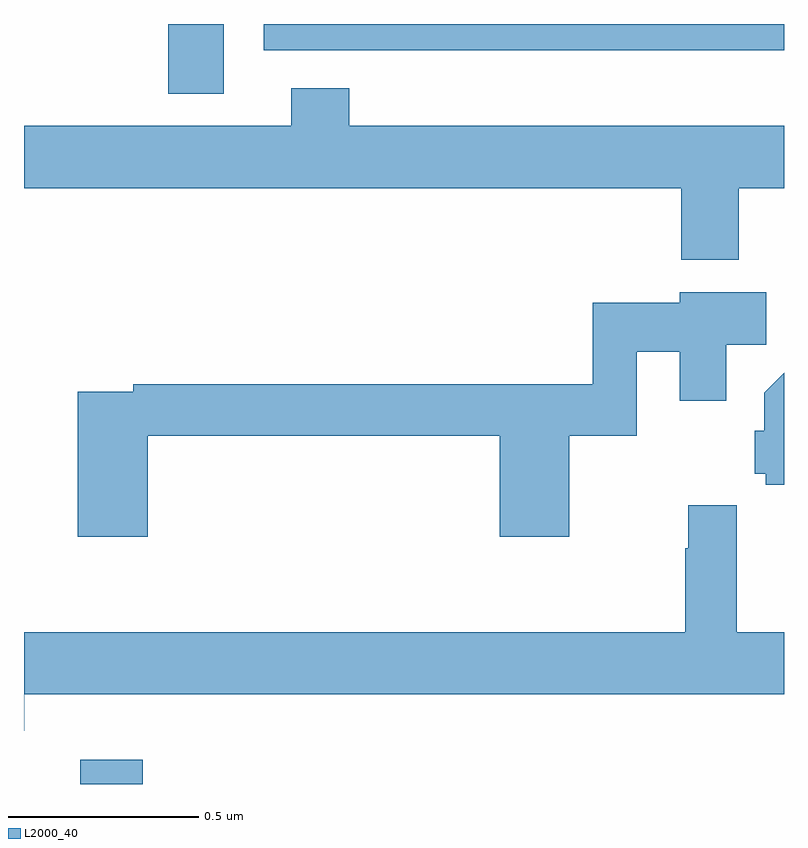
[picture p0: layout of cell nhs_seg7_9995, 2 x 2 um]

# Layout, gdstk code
import gdstk
lib = gdstk.Library(unit=1e-6, precision=1e-09)
def R(c, l, rs):  # rectangles x0, y0, x1, y1
    for r in rs: c.add(gdstk.rectangle(r[:2], r[2:], *l))
def P(c, l, *ps):  # polygons
    for p in ps: c.add(gdstk.Polygon(p, *l))
L2000_40 = (2000, 40)

nhs_seg7_9995 = lib.new_cell('nhs_seg7_9995')
R(nhs_seg7_9995, L2000_40, [(244.148,1047,244.312,1047.064), (244.379,1048.817,244.525,1049), (244.631,1048.931,246,1049)])
P(nhs_seg7_9995, L2000_40, [(245.881,1048.568),(246,1048.568),(246,1048.732),(244.856,1048.732),(244.856,1048.831),(244.703,1048.831),(244.703,1048.732),(244,1048.732),(244,1048.568),(245.729,1048.568),(245.729,1048.379),(245.881,1048.379)],
  [(244.325,1047.916),(245.252,1047.916),(245.252,1047.651),(245.435,1047.651),(245.435,1047.916),(245.613,1047.916),(245.613,1048.138),(245.726,1048.138),(245.726,1048.008),(245.848,1048.008),(245.848,1048.156),(245.953,1048.156),(245.953,1048.294),(245.726,1048.294),(245.726,1048.267),(245.497,1048.267),(245.497,1048.052),(244.288,1048.052),(244.288,1048.032),(244.142,1048.032),(244.142,1047.651),(244.325,1047.651)],
  [(246,1048.082),(245.948,1048.03),(245.948,1047.93),(245.923,1047.93),(245.923,1047.816),(245.952,1047.816),(245.952,1047.787),(246,1047.787)],
  [(244.001,1047.236),(246,1047.236),(246,1047.4),(245.876,1047.4),(245.876,1047.733),(245.748,1047.733),(245.748,1047.62),(245.74,1047.62),(245.74,1047.4),(244,1047.4),(244,1047.14),(244.001,1047.14)])

lib.write_gds('nhs_seg7_9995.gds')
